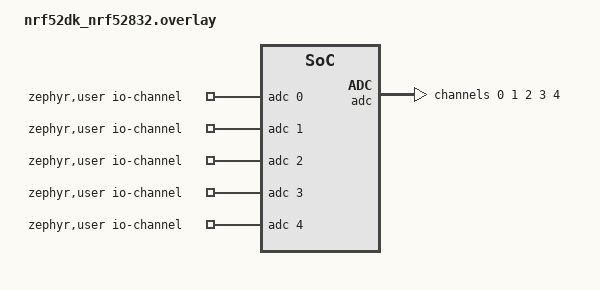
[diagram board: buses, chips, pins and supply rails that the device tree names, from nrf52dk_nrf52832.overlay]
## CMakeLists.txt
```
# SPDX-License-Identifier: Apache-2.0

cmake_minimum_required(VERSION 3.20.0)

find_package(Zephyr REQUIRED HINTS $ENV{ZEPHYR_BASE})
project(adc_sample)

target_sources(app PRIVATE src/main.c)
add_subdirectory(src/raafat-adc)
```

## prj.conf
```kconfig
CONFIG_ADC=y
CONFIG_LOG=y
# CONFIG_LOG_MODE_MINIMAL=n
CONFIG_LOG_BACKEND_RTT=y
CONFIG_PRINTK=y


CONFIG_CLOCK_CONTROL_NRF_K32SRC_RC=y
CONFIG_CLOCK_CONTROL_NRF_K32SRC_250PPM=y
CONFIG_CLOCK_CONTROL_NRF_K32SRC_RC_CALIBRATION=y
CONFIG_CLOCK_CONTROL_NRF_CALIBRATION_MAX_SKIP=0
# CONFIG_CLOCK_CONTROL_NRF_CALIBRATION_LF_ALWAYS_ON=y

CONFIG_NFCT_PINS_AS_GPIOS=y
```

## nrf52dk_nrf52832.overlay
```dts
// To get started, press Ctrl+Space to bring up the completion menu and view the available nodes.

// You can also use the buttons in the sidebar to perform actions on nodes.
// Actions currently available include:

// * Enabling / disabling the node
// * Adding the bus to a bus
// * Removing the node
// * Connecting ADC channels

// For more help, browse the DeviceTree documentation at https://docs.zephyrproject.org/latest/guides/dts/index.html
// You can also visit the nRF DeviceTree extension documentation at https://nrfconnect.github.io/vscode-nrf-connect/devicetree/nrfdevicetree.html
/*
 * SPDX-License-Identifier: Apache-2.0
 *
 * Copyright (c) 2022 Nordic Semiconductor ASA
 */


 / {
	zephyr,user {
		io-channels = <&adc 0>, <&adc 1>, <&adc 2>, <&adc 3>, <&adc 4>;
	};
};

&adc {
	#address-cells = <1>;
	#size-cells = <0>;

	channel@0 {
		reg = <0>;
		zephyr,gain = "ADC_GAIN_1_6";
		zephyr,reference = "ADC_REF_INTERNAL";
		zephyr,acquisition-time = <ADC_ACQ_TIME_DEFAULT>;
		zephyr,input-positive = <NRF_SAADC_AIN0>; /* P0.02 */
		zephyr,resolution = <12>;
	};

	channel@1 {
		reg = <1>;
		zephyr,gain = "ADC_GAIN_1_6";
		zephyr,reference = "ADC_REF_INTERNAL";
		zephyr,acquisition-time = <ADC_ACQ_TIME_DEFAULT>;
		zephyr,input-positive = <NRF_SAADC_AIN1>; /* P0.03 */
		zephyr,resolution = <12>;
	};

    channel@2 {
		reg = <2>;
		zephyr,gain = "ADC_GAIN_1_6";
		zephyr,reference = "ADC_REF_INTERNAL";
		zephyr,acquisition-time = <ADC_ACQ_TIME_DEFAULT>;
		zephyr,input-positive = <NRF_SAADC_AIN2>; /* P0.04 */
		zephyr,resolution = <12>;
	};
	// channel@7 {
	// 	reg = <7>;
	// 	zephyr,gain = "ADC_GAIN_1_5";
	// 	zephyr,reference = "ADC_REF_VDD_1_4";
	// 	zephyr,vref-mv = <750>;
	// 	zephyr,acquisition-time = <ADC_ACQ_TIME_DEFAULT>;
	// 	zephyr,input-positive = <NRF_SAADC_AIN6>; /* P0.30 */
	// 	zephyr,input-negative = <NRF_SAADC_AIN7>; /* P0.31 */
	// 	zephyr,resolution = <12>;
	// };
    channel@3 {
		reg = <3>;
		zephyr,gain = "ADC_GAIN_1_6";
		zephyr,reference = "ADC_REF_INTERNAL";
		zephyr,acquisition-time = <ADC_ACQ_TIME_DEFAULT>;
		zephyr,input-positive = <NRF_SAADC_AIN3>; /* P0.05 */
		zephyr,resolution = <12>;
	};

    channel@4 {
		reg = <4>;
		zephyr,gain = "ADC_GAIN_1_6";
		zephyr,reference = "ADC_REF_INTERNAL";
		zephyr,acquisition-time = <ADC_ACQ_TIME_DEFAULT>;
		zephyr,input-positive = <NRF_SAADC_AIN4>; /* P0.28 */
		zephyr,resolution = <12>;
	};

    // channel@5 {
	// 	reg = <5>;
	// 	zephyr,gain = "ADC_GAIN_1_6";
	// 	zephyr,reference = "ADC_REF_INTERNAL";
	// 	zephyr,acquisition-time = <ADC_ACQ_TIME_DEFAULT>;
	// 	zephyr,input-positive = <NRF_SAADC_AIN5>; /* P0.04 */
	// 	zephyr,resolution = <12>;
	// };
};
```

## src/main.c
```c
/*
 * Copyright (c) 2020 Libre Solar Technologies GmbH
 *
 * SPDX-License-Identifier: Apache-2.0
 */

#include <zephyr/kernel.h>
#include "raafat_adc.h"

typedef struct raafat_data_s{
	int32_t an0; //0.2
	int32_t an1; //0.3
	int32_t an2; //0.4
	int32_t an3; //0.5
	int32_t an4; //0.28
}raafat_data_t;

static raafat_data_t raafat_data = {0};

int main(void)
{
	error_t err = 0;
	err = raafat_adc_init();
	if(err != 0)
	{	
		printk("Unable to initialize raafat adc\n");
		return 0;
	}

	while (1) {

		err = raafat_adc_read(&(raafat_data.an0), &(raafat_data.an1), &(raafat_data.an2), &(raafat_data.an3), &(raafat_data.an4));
		
		printk(" = %"PRId32" mV\n", raafat_data.an0);
		printk(" = %"PRId32" mV\n", raafat_data.an1);
		printk(" = %"PRId32" mV\n", raafat_data.an2);
		printk(" = %"PRId32" mV\n", raafat_data.an3);
		printk(" = %"PRId32" mV\n", raafat_data.an4);
		k_sleep(K_MSEC(1000));
	}
	return 0;
}
```
